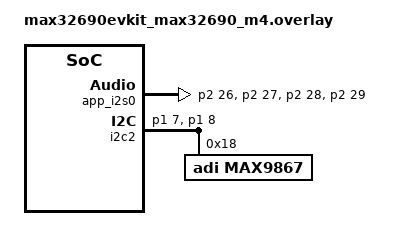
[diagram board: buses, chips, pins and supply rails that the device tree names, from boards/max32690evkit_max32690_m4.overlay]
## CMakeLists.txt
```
# SPDX-License-Identifier: Apache-2.0

cmake_minimum_required(VERSION 3.20.0)
find_package(Zephyr REQUIRED HINTS $ENV{ZEPHYR_BASE})
project(max32690_i2s_loopback)

target_sources(app PRIVATE src/main.c src/max9867.c src/audio_display.c)
```

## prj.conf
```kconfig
CONFIG_I2C=y
CONFIG_I2S=y
CONFIG_PRINTK=y
CONFIG_DISPLAY=y
CONFIG_DISPLAY_LOG_LEVEL_ERR=y

CONFIG_FPU=y
CONFIG_CMSIS_DSP=y
CONFIG_CMSIS_DSP_TRANSFORM=y
CONFIG_CMSIS_DSP_COMPLEXMATH=y
CONFIG_CMSIS_DSP_STATISTICS=y
CONFIG_CMSIS_DSP_WINDOW=y
CONFIG_REQUIRES_FULL_LIBC=y
```

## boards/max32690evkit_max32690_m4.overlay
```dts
/*
 * SPDX-License-Identifier: Apache-2.0
 */

#include <zephyr/dt-bindings/dma/max32690_dma.h>

/ {
	aliases {
		audio-i2s = &app_i2s0;
	};

	soc {
		app_i2s0: i2s@40060000 {
			compatible = "adi,max32-i2s";
			reg = <0x40060000 0x1000>;
			#address-cells = <1>;
			#size-cells = <0>;
			dmas = <&dma0 0 MAX32_DMA_SLOT_I2S_TX>,
			       <&dma0 1 MAX32_DMA_SLOT_I2S_RX>;
			dma-names = "tx", "rx";
			pinctrl-0 = <&i2s0c_ws_p2_26 &i2s0c_sdi_p2_27
				     &i2s0c_sdo_p2_28 &i2s0c_sck_p2_29>;
			pinctrl-names = "default";
			status = "okay";
		};
	};
};

/* SPI0 uses the same P2.26 through P2.29 pins as I2S0. */
&spi0 {
	status = "disabled";
};

&i2c2 {
	status = "okay";
	pinctrl-0 = <&i2c2c_sda_p1_7 &i2c2c_scl_p1_8>;
	pinctrl-names = "default";

	max9867: max9867@18 {
		compatible = "adi,max9867";
		reg = <0x18>;
		status = "okay";
	};
};
```

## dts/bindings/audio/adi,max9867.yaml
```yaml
# SPDX-License-Identifier: Apache-2.0

description: MAX9867 audio codec controlled through I2C

compatible: "adi,max9867"

include: i2c-device.yaml
```

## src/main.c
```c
/*
 * SPDX-License-Identifier: Apache-2.0
 */

#include "max9867.h"
#include "audio_display.h"

#include <errno.h>
#include <math.h>
#include <stdint.h>
#include <string.h>

#include <arm_math.h>
#include <zephyr/device.h>
#include <zephyr/drivers/i2s.h>
#include <zephyr/kernel.h>
#include <zephyr/sys/atomic.h>
#include <zephyr/sys/printk.h>
#include <zephyr/sys/util.h>

#define AUDIO_I2S_NODE DT_ALIAS(audio_i2s)

#define SAMPLE_RATE_HZ    44100U
#define SAMPLE_BIT_WIDTH  16U
#define CHANNEL_COUNT     2U
#define ANALYSIS_CHANNEL  0U
#define FRAMES_PER_BLOCK  1024U
#define SAMPLES_PER_BLOCK (FRAMES_PER_BLOCK * CHANNEL_COUNT)
#define BLOCK_SIZE        (SAMPLES_PER_BLOCK * sizeof(int16_t))
#define BLOCK_COUNT       8U
#define INITIAL_TX_BLOCKS 2U
#define I2S_TIMEOUT_MS    1000

#define FFT_SIZE               1024U
#define FFT_BIN_COUNT          (FFT_SIZE / 2U)
#define ANALYSIS_BUFFER_COUNT  2U
#define INVALID_BUFFER_INDEX   UINT8_MAX
#define PCM_FULL_SCALE         32768.0f
#define MIN_POWER_DBFS         (-120.0f)
#define MIN_NORMALIZED_POWER   1.0e-12f
#define SILENCE_LEVEL_DBFS     (-80.0f)
#define DSP_THREAD_STACK_SIZE  4096
#define DSP_THREAD_PRIORITY    5
#define SPECTRUM_LOG_PERIOD_MS 500U

BUILD_ASSERT(INITIAL_TX_BLOCKS < BLOCK_COUNT);

K_MEM_SLAB_DEFINE_STATIC(audio_slab, BLOCK_SIZE, BLOCK_COUNT, 4);
K_MSGQ_DEFINE(free_analysis_buffers, sizeof(uint8_t), ANALYSIS_BUFFER_COUNT, 1);
K_MSGQ_DEFINE(ready_analysis_buffers, sizeof(uint8_t), ANALYSIS_BUFFER_COUNT, 1);
K_SEM_DEFINE(dsp_start, 0, 1);

static int16_t analysis_buffers[ANALYSIS_BUFFER_COUNT][FFT_SIZE];
static float32_t fft_input[FFT_SIZE];
static float32_t fft_output[FFT_SIZE];
static float32_t power_spectrum[FFT_BIN_COUNT];
static float32_t hann_window[FFT_SIZE];
static arm_rfft_fast_instance_f32 fft;
static float32_t window_sum;
static atomic_t dropped_analysis_blocks;

static int init_dsp(void)
{
	arm_status status;

	status = arm_rfft_fast_init_1024_f32(&fft);
	if (status != ARM_MATH_SUCCESS) {
		printk("Failed to initialize 1024-point RFFT: %d\n", status);
		return -EINVAL;
	}

	arm_hanning_f32(hann_window, FFT_SIZE);
	for (size_t i = 0; i < FFT_SIZE; ++i) {
		window_sum += hann_window[i];
	}

	for (uint8_t i = 0; i < ANALYSIS_BUFFER_COUNT; ++i) {
		if (k_msgq_put(&free_analysis_buffers, &i, K_NO_WAIT) < 0) {
			printk("Failed to initialize analysis buffer queue\n");
			return -ENOMEM;
		}
	}

	k_sem_give(&dsp_start);
	return 0;
}

static void print_spectrum_result(float32_t frequency_hz, float32_t level_dbfs,
				  uint32_t processing_us)
{
	static uint32_t last_log_ms;
	uint32_t now_ms = k_uptime_get_32();
	uint32_t frequency_tenths = (uint32_t)(frequency_hz * 10.0f + 0.5f);
	int32_t level_tenths =
		(int32_t)(level_dbfs * 10.0f + ((level_dbfs >= 0.0f) ? 0.5f : -0.5f));
	uint32_t level_abs =
		(level_tenths < 0) ? (uint32_t)(-(int64_t)level_tenths) : (uint32_t)level_tenths;
	const char *level_sign = (level_tenths < 0) ? "-" : "";
	const char *state = (level_dbfs < SILENCE_LEVEL_DBFS) ? " (silence/noise)" : "";

	if ((uint32_t)(now_ms - last_log_ms) < SPECTRUM_LOG_PERIOD_MS) {
		return;
	}
	last_log_ms = now_ms;

	printk("Peak: %u.%u Hz, level: %s%u.%u dBFS%s, DSP: %u us, dropped blocks: %u\n",
	       frequency_tenths / 10U, frequency_tenths % 10U, level_sign, level_abs / 10U,
	       level_abs % 10U, state, processing_us,
	       (uint32_t)atomic_get(&dropped_analysis_blocks));
}

static void process_spectrum(const int16_t *samples)
{
	uint32_t start_cycles = k_cycle_get_32();
	float32_t mean = 0.0f;
	float32_t peak_power;
	float32_t peak_bin;
	float32_t normalized_power;
	float32_t level_dbfs;
	uint32_t peak_index;

	for (size_t i = 0; i < FFT_SIZE; ++i) {
		fft_input[i] = (float32_t)samples[i] / PCM_FULL_SCALE;
		mean += fft_input[i];
	}
	mean /= FFT_SIZE;

	for (size_t i = 0; i < FFT_SIZE; ++i) {
		fft_input[i] = (fft_input[i] - mean) * hann_window[i];
	}

	arm_rfft_fast_f32(&fft, fft_input, fft_output, 0);

	/*
	 * The fast RFFT packs DC and Nyquist into fft_output[0] and
	 * fft_output[1]. Compute bins 1 through N/2 - 1 as normal complex
	 * values; the Nyquist bin is not needed for the audio display.
	 */
	power_spectrum[0] = fft_output[0] * fft_output[0];
	arm_cmplx_mag_squared_f32(&fft_output[2], &power_spectrum[1], FFT_BIN_COUNT - 1U);

	arm_max_f32(&power_spectrum[1], FFT_BIN_COUNT - 1U, &peak_power, &peak_index);
	peak_index += 1U;
	peak_bin = (float32_t)peak_index;

	/* Refine the dominant frequency with three-point parabolic interpolation. */
	if ((peak_index > 1U) && (peak_index < (FFT_BIN_COUNT - 1U))) {
		float32_t left = power_spectrum[peak_index - 1U];
		float32_t center = power_spectrum[peak_index];
		float32_t right = power_spectrum[peak_index + 1U];
		float32_t denominator = left - (2.0f * center) + right;

		if (denominator != 0.0f) {
			float32_t offset = 0.5f * (left - right) / denominator;

			if ((offset >= -0.5f) && (offset <= 0.5f)) {
				float32_t interpolated_power =
					center - (0.25f * (left - right) * offset);

				peak_bin += offset;
				if (interpolated_power > peak_power) {
					peak_power = interpolated_power;
				}
			}
		}
	}

	/*
	 * A real sinusoid contributes N/2 times its peak amplitude to one
	 * positive-frequency bin. window_sum corrects the coherent gain of
	 * the Hann window, yielding a peak-amplitude value relative to full
	 * scale. Use power so only one logarithm is needed.
	 */
	normalized_power = (4.0f * peak_power) / (window_sum * window_sum);
	if (normalized_power < MIN_NORMALIZED_POWER) {
		level_dbfs = MIN_POWER_DBFS;
	} else {
		level_dbfs = 10.0f * log10f(normalized_power);
	}

	audio_display_update(samples, FFT_SIZE, power_spectrum, FFT_BIN_COUNT, window_sum);
	print_spectrum_result(peak_bin * (float32_t)SAMPLE_RATE_HZ / (float32_t)FFT_SIZE,
			      level_dbfs, k_cyc_to_us_floor32(k_cycle_get_32() - start_cycles));
}

static void dsp_thread(void *unused1, void *unused2, void *unused3)
{
	uint8_t buffer_index;

	ARG_UNUSED(unused1);
	ARG_UNUSED(unused2);
	ARG_UNUSED(unused3);

	k_sem_take(&dsp_start, K_FOREVER);

	for (;;) {
		k_msgq_get(&ready_analysis_buffers, &buffer_index, K_FOREVER);
		process_spectrum(analysis_buffers[buffer_index]);

		if (k_msgq_put(&free_analysis_buffers, &buffer_index, K_NO_WAIT) < 0) {
			printk("Failed to recycle analysis buffer %u\n", buffer_index);
		}
	}
}

K_THREAD_DEFINE(dsp_thread_id, DSP_THREAD_STACK_SIZE, dsp_thread, NULL, NULL, NULL,
		DSP_THREAD_PRIORITY, 0, 0);

static void collect_analysis_samples(const int16_t *samples, size_t frame_count)
{
	static uint8_t active_buffer = INVALID_BUFFER_INDEX;
	static size_t sample_count;
	size_t frame = 0;

	while (frame < frame_count) {
		size_t copy_count;

		if (active_buffer == INVALID_BUFFER_INDEX) {
			if (k_msgq_get(&free_analysis_buffers, &active_buffer, K_NO_WAIT) < 0) {
				atomic_inc(&dropped_analysis_blocks);
				return;
			}
			sample_count = 0;
		}

		copy_count = MIN(frame_count - frame, FFT_SIZE - sample_count);
		for (size_t i = 0; i < copy_count; ++i) {
			analysis_buffers[active_buffer][sample_count + i] =
				samples[(frame + i) * CHANNEL_COUNT + ANALYSIS_CHANNEL];
		}

		frame += copy_count;
		sample_count += copy_count;

		if (sample_count == FFT_SIZE) {
			if (k_msgq_put(&ready_analysis_buffers, &active_buffer, K_NO_WAIT) < 0) {
				(void)k_msgq_put(&free_analysis_buffers, &active_buffer, K_NO_WAIT);
				atomic_inc(&dropped_analysis_blocks);
			}
			active_buffer = INVALID_BUFFER_INDEX;
		}
	}
}

static int prepare_tx(const struct device *i2s)
{
	for (size_t i = 0U; i < INITIAL_TX_BLOCKS; ++i) {
		void *block;
		int ret;

		ret = k_mem_slab_alloc(&audio_slab, &block, K_NO_WAIT);
		if (ret < 0) {
			printk("Failed to allocate initial TX block %u: %d\n", (uint32_t)i, ret);
			return ret;
		}

		memset(block, 0, BLOCK_SIZE);
		ret = i2s_write(i2s, block, BLOCK_SIZE);
		if (ret < 0) {
			printk("Failed to queue initial TX block %u: %d\n", (uint32_t)i, ret);
			k_mem_slab_free(&audio_slab, block);
			return ret;
		}
	}

	return 0;
}

int main(void)
{
	const struct device *const i2s = DEVICE_DT_GET(AUDIO_I2S_NODE);
	const struct i2s_config config = {
		.word_size = SAMPLE_BIT_WIDTH,
		.channels = CHANNEL_COUNT,
		.format = I2S_FMT_DATA_FORMAT_I2S,
		.options = I2S_OPT_BIT_CLK_TARGET | I2S_OPT_FRAME_CLK_TARGET,
		.frame_clk_freq = SAMPLE_RATE_HZ,
		.mem_slab = &audio_slab,
		.block_size = BLOCK_SIZE,
		.timeout = I2S_TIMEOUT_MS,
	};
	int ret;

	printk("MAX32690EVKIT 44.1 kHz line-in spectrum analyzer with digital monitor\n");

	if (!device_is_ready(i2s)) {
		printk("%s is not ready\n", i2s->name);
		return 0;
	}

	ret = max9867_init_line_in_monitor(SAMPLE_RATE_HZ);
	if (ret < 0) {
		printk("MAX9867 initialization failed: %d\n", ret);
		return 0;
	}

	ret = init_dsp();
	if (ret < 0) {
		return 0;
	}

	ret = audio_display_init(SAMPLE_RATE_HZ, FFT_SIZE);
	if (ret < 0) {
		printk("Display initialization failed: %d\n", ret);
		return 0;
	}

	ret = i2s_configure(i2s, I2S_DIR_BOTH, &config);
	if (ret < 0) {
		printk("Failed to configure I2S RX/TX: %d\n", ret);
		return 0;
	}

	ret = prepare_tx(i2s);
	if (ret < 0) {
		return 0;
	}

	ret = i2s_trigger(i2s, I2S_DIR_BOTH, I2S_TRIGGER_START);
	if (ret < 0) {
		printk("Failed to start I2S RX/TX: %d\n", ret);
		return 0;
	}

	printk("Capturing 44.1 kHz stereo LINE_IN; analyzing left channel, 1024-point FFT\n");
	printk("Digital monitor: J5 LINE_IN -> MAX9867 ADC -> I2S RX/TX -> "
	       "MAX9867 DAC -> J6 HD_PHONE\n");

	for (;;) {
		void *block;
		size_t block_size;
		size_t frame_count;

		ret = i2s_read(i2s, &block, &block_size);
		if (ret < 0) {
			printk("I2S read failed: %d\n", ret);
			break;
		}

		if ((block_size % (CHANNEL_COUNT * sizeof(int16_t))) != 0U) {
			printk("Unexpected I2S block size: %u\n", (uint32_t)block_size);
			k_mem_slab_free(&audio_slab, block);
			break;
		}

		frame_count = block_size / (CHANNEL_COUNT * sizeof(int16_t));
		collect_analysis_samples(block, frame_count);

		/* i2s_write() takes ownership and releases the block after transmission. */
		ret = i2s_write(i2s, block, block_size);
		if (ret < 0) {
			printk("I2S write failed: %d\n", ret);
			k_mem_slab_free(&audio_slab, block);
			break;
		}
	}

	(void)i2s_trigger(i2s, I2S_DIR_BOTH, I2S_TRIGGER_DROP);
	return 0;
}
```

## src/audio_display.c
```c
/*
 * SPDX-License-Identifier: Apache-2.0
 */

#include "audio_display.h"

#include <errno.h>
#include <math.h>
#include <stdbool.h>
#include <stdint.h>
#include <string.h>

#include <mxc_device.h>
#include <zephyr/arch/cpu.h>
#include <zephyr/device.h>
#include <zephyr/drivers/display.h>
#include <zephyr/drivers/gpio.h>
#include <zephyr/drivers/mipi_dbi.h>
#include <zephyr/kernel.h>
#include <zephyr/sys/atomic.h>
#include <zephyr/sys/byteorder.h>
#include <zephyr/sys/printk.h>
#include <zephyr/sys/util.h>

#define DISPLAY_NODE     DT_CHOSEN(zephyr_display)
#define DISPLAY_SPI_NODE DT_PHANDLE(DT_PARENT(DISPLAY_NODE), spi_dev)
#define DISPLAY_CS_INDEX DT_REG_ADDR_RAW(DISPLAY_NODE)

#define DISPLAY_CLK_PIN  DT_GPIO_PIN(DISPLAY_SPI_NODE, clk_gpios)
#define DISPLAY_MOSI_PIN DT_GPIO_PIN(DISPLAY_SPI_NODE, mosi_gpios)
#define DISPLAY_CS_PIN   DT_GPIO_PIN_BY_IDX(DISPLAY_SPI_NODE, cs_gpios, DISPLAY_CS_INDEX)

#define DISPLAY_CLK_CTLR  DT_GPIO_CTLR(DISPLAY_SPI_NODE, clk_gpios)
#define DISPLAY_MOSI_CTLR DT_GPIO_CTLR(DISPLAY_SPI_NODE, mosi_gpios)
#define DISPLAY_CS_CTLR   DT_GPIO_CTLR_BY_IDX(DISPLAY_SPI_NODE, cs_gpios, DISPLAY_CS_INDEX)

#if !DT_NODE_HAS_STATUS(DISPLAY_NODE, okay)
#error "A ready zephyr,display devicetree node is required"
#endif

#define DISPLAY_WIDTH    DT_PROP(DISPLAY_NODE, width)
#define DISPLAY_HEIGHT   DT_PROP(DISPLAY_NODE, height)
#define DISPLAY_X_OFFSET DT_PROP(DISPLAY_NODE, x_offset)
#define DISPLAY_Y_OFFSET DT_PROP(DISPLAY_NODE, y_offset)

#define WAVEFORM_TOP            1U
#define WAVEFORM_BOTTOM         ((DISPLAY_HEIGHT / 2U) - 2U)
#define WAVEFORM_CENTER         ((WAVEFORM_TOP + WAVEFORM_BOTTOM) / 2U)
#define WAVEFORM_HEIGHT         (WAVEFORM_BOTTOM - WAVEFORM_TOP + 1U)
#define WAVEFORM_PCM_FULL_SCALE ((int32_t)INT16_MAX + 1)

#define DISPLAY_DIVIDER_Y         (DISPLAY_HEIGHT / 2U)
#define SPECTRUM_TOP              (DISPLAY_DIVIDER_Y + 2U)
#define SPECTRUM_BOTTOM           (DISPLAY_HEIGHT - 2U)
#define SPECTRUM_HEIGHT           (SPECTRUM_BOTTOM - SPECTRUM_TOP + 1U)
#define SPECTRUM_BAR_COUNT        32U
#define SPECTRUM_FLOOR_DBFS       (-80.0f)
#define SPECTRUM_CEILING_DBFS     0.0f
#define SPECTRUM_MAX_FREQUENCY_HZ 20000.0f

#define SNAPSHOT_MIN_INTERVAL_MS  40U
#define DISPLAY_REFRESH_PERIOD_MS 80U
#define DISPLAY_STATS_PERIOD_MS   2000U
#define DISPLAY_THREAD_STACK_SIZE 2048
#define DISPLAY_THREAD_PRIORITY   7

#define SPECTRUM_RISE_STEP            8U
#define SPECTRUM_FALL_STEP            4U
#define FAST_TX_WORD_CAPACITY         17600U
#define FAST_FRAME_SETUP_WORDS        2U
#define FAST_RECTANGLE_OVERHEAD_WORDS 11U
#define FAST_PIXEL_WORDS              2U
#define MIPI_DBI_DATA_FLAG            BIT(8)

#define ST7735_CMD_COLMOD 0x3aU
#define ST7735_CMD_CASET  0x2aU
#define ST7735_CMD_RASET  0x2bU
#define ST7735_CMD_RAMWR  0x2cU
#define ST7735_COLMOD     DT_PROP(DISPLAY_NODE, colmod)

#define RGB565_GRID    0x18e3U
#define RGB565_DIVIDER 0x4208U
#define RGB565_CYAN    0x07ffU
#define RGB565_GREEN   0x07e0U
#define RGB565_YELLOW  0xffe0U
#define RGB565_RED     0xf800U

BUILD_ASSERT(DISPLAY_WIDTH > SPECTRUM_BAR_COUNT);
BUILD_ASSERT(DISPLAY_HEIGHT >= 64U);
BUILD_ASSERT(DISPLAY_HEIGHT <= UINT8_MAX);
BUILD_ASSERT(DT_NODE_HAS_COMPAT(DISPLAY_NODE, sitronix_st7735r));
BUILD_ASSERT(DT_STRING_UPPER_TOKEN(DISPLAY_NODE, mipi_mode) == MIPI_DBI_MODE_SPI_3WIRE);
BUILD_ASSERT(DT_PROP(DISPLAY_NODE, mipi_cpol) == 0);
BUILD_ASSERT(DT_PROP(DISPLAY_NODE, mipi_cpha) == 0);
BUILD_ASSERT(ST7735_COLMOD == 0x05U);
BUILD_ASSERT(IS_ENABLED(CONFIG_SOC_MAX32690_M4));
BUILD_ASSERT(CONFIG_SYS_CLOCK_HW_CYCLES_PER_SEC == MHZ(120));
BUILD_ASSERT(DT_PROP(DISPLAY_NODE, mipi_max_frequency) == MHZ(6));
BUILD_ASSERT(DISPLAY_CLK_PIN < 32U);
BUILD_ASSERT(DISPLAY_MOSI_PIN < 32U);
BUILD_ASSERT(DISPLAY_CS_PIN < 32U);
BUILD_ASSERT(DT_REG_ADDR(DT_NODELABEL(gpio2)) == MXC_BASE_GPIO2);
BUILD_ASSERT(DT_SAME_NODE(DISPLAY_CLK_CTLR, DT_NODELABEL(gpio2)));
BUILD_ASSERT(DT_SAME_NODE(DISPLAY_MOSI_CTLR, DT_NODELABEL(gpio2)));
BUILD_ASSERT(DT_SAME_NODE(DISPLAY_CS_CTLR, DT_NODELABEL(gpio2)));
BUILD_ASSERT((DT_GPIO_FLAGS(DISPLAY_SPI_NODE, clk_gpios) & GPIO_ACTIVE_LOW) == 0U);
BUILD_ASSERT((DT_GPIO_FLAGS(DISPLAY_SPI_NODE, mosi_gpios) & GPIO_ACTIVE_LOW) == 0U);
BUILD_ASSERT((DT_GPIO_FLAGS_BY_IDX(DISPLAY_SPI_NODE, cs_gpios, DISPLAY_CS_INDEX) &
	      GPIO_ACTIVE_LOW) != 0U);
BUILD_ASSERT(
	FAST_TX_WORD_CAPACITY >=
	(FAST_FRAME_SETUP_WORDS +
	 (SPECTRUM_BAR_COUNT * (FAST_RECTANGLE_OVERHEAD_WORDS +
				(MAX(SPECTRUM_RISE_STEP, SPECTRUM_FALL_STEP) * FAST_PIXEL_WORDS))) +
	 FAST_RECTANGLE_OVERHEAD_WORDS + (DISPLAY_WIDTH * WAVEFORM_HEIGHT * FAST_PIXEL_WORDS)));

struct display_snapshot {
	uint8_t waveform_top[DISPLAY_WIDTH];
	uint8_t waveform_bottom[DISPLAY_WIDTH];
	uint8_t spectrum_height[SPECTRUM_BAR_COUNT];
	uint32_t sequence;
};

struct display_render_state {
	uint8_t spectrum_height[SPECTRUM_BAR_COUNT];
};

static const struct device *const display = DEVICE_DT_GET(DISPLAY_NODE);
static const struct device *const display_spi = DEVICE_DT_GET(DISPLAY_SPI_NODE);
static uint16_t framebuffer[DISPLAY_HEIGHT][DISPLAY_WIDTH];
static uint16_t fast_tx_words[FAST_TX_WORD_CAPACITY];
static uint16_t spectrum_bin_edges[SPECTRUM_BAR_COUNT + 1U];
static struct display_snapshot latest_snapshot;
static struct display_render_state displayed_state;
static struct display_render_state prepared_state;
static struct k_spinlock snapshot_lock;
static enum display_pixel_format pixel_format;
static size_t fast_tx_word_count;
static uint32_t last_snapshot_ms;
static atomic_t display_initialized;

K_SEM_DEFINE(display_start, 0, 1);

static uint16_t encode_color(uint16_t rgb565)
{
	if (pixel_format == PIXEL_FORMAT_RGB_565X) {
		return sys_cpu_to_be16(rgb565);
	}

	return rgb565;
}

static void put_pixel(uint16_t x, uint16_t y, uint16_t color)
{
	if ((x < DISPLAY_WIDTH) && (y < DISPLAY_HEIGHT)) {
		framebuffer[y][x] = encode_color(color);
	}
}

static void draw_vertical_line(uint16_t x, uint16_t y_start, uint16_t y_end, uint16_t color)
{
	if (y_start > y_end) {
		uint16_t temporary = y_start;

		y_start = y_end;
		y_end = temporary;
	}

	for (uint16_t y = y_start; y <= y_end; ++y) {
		put_pixel(x, y, color);
	}
}

static void draw_line(uint16_t x0, uint16_t y0, uint16_t x1, uint16_t y1, uint16_t color)
{
	int32_t x = x0;
	int32_t y = y0;
	int32_t delta_x = (x1 >= x0) ? (int32_t)(x1 - x0) : (int32_t)(x0 - x1);
	int32_t delta_y = -((y1 >= y0) ? (int32_t)(y1 - y0) : (int32_t)(y0 - y1));
	int32_t step_x = (x0 < x1) ? 1 : -1;
	int32_t step_y = (y0 < y1) ? 1 : -1;
	int32_t error = delta_x + delta_y;

	for (;;) {
		put_pixel((uint16_t)x, (uint16_t)y, color);
		if ((x == x1) && (y == y1)) {
			break;
		}

		int32_t doubled_error = 2 * error;

		if (doubled_error >= delta_y) {
			error += delta_y;
			x += step_x;
		}
		if (doubled_error <= delta_x) {
			error += delta_x;
			y += step_y;
		}
	}
}

static uint8_t sample_to_y(int16_t sample)
{
	const int32_t half_height = (WAVEFORM_BOTTOM - WAVEFORM_TOP) / 2U;
	int32_t y = (int32_t)WAVEFORM_CENTER -
		    ((int32_t)sample * half_height) / WAVEFORM_PCM_FULL_SCALE;

	if (y < WAVEFORM_TOP) {
		y = WAVEFORM_TOP;
	} else if (y > WAVEFORM_BOTTOM) {
		y = WAVEFORM_BOTTOM;
	}

	return (uint8_t)y;
}

static void update_waveform(struct display_snapshot *snapshot, const int16_t *samples,
			    size_t sample_count)
{
	for (size_t x = 0U; x < DISPLAY_WIDTH; ++x) {
		size_t start = (x * sample_count) / DISPLAY_WIDTH;
		size_t end = ((x + 1U) * sample_count) / DISPLAY_WIDTH;
		int16_t minimum;
		int16_t maximum;

		if (end <= start) {
			end = start + 1U;
		}
		if (end > sample_count) {
			end = sample_count;
		}

		minimum = samples[start];
		maximum = samples[start];
		for (size_t i = start + 1U; i < end; ++i) {
			minimum = MIN(minimum, samples[i]);
			maximum = MAX(maximum, samples[i]);
		}

		snapshot->waveform_top[x] = sample_to_y(maximum);
		snapshot->waveform_bottom[x] = sample_to_y(minimum);
	}
}

static void update_spectrum(struct display_snapshot *snapshot, const float *power_spectrum,
			    size_t spectrum_bin_count, float window_sum)
{
	const float power_scale = 4.0f / (window_sum * window_sum);

	for (size_t bar = 0U; bar < SPECTRUM_BAR_COUNT; ++bar) {
		uint16_t start = spectrum_bin_edges[bar];
		uint16_t end = spectrum_bin_edges[bar + 1U];
		float peak_power = 0.0f;
		float level_dbfs;
		float normalized_height;
		uint32_t height;

		if ((start >= spectrum_bin_count) || (end > spectrum_bin_count)) {
			snapshot->spectrum_height[bar] = 0U;
			continue;
		}

		for (uint16_t bin = start; bin < end; ++bin) {
			peak_power = MAX(peak_power, power_spectrum[bin]);
		}

		peak_power *= power_scale;
		if (peak_power <= 1.0e-12f) {
			level_dbfs = SPECTRUM_FLOOR_DBFS;
		} else {
			level_dbfs = 10.0f * log10f(peak_power);
		}

		level_dbfs = CLAMP(level_dbfs, SPECTRUM_FLOOR_DBFS, SPECTRUM_CEILING_DBFS);
		normalized_height = (level_dbfs - SPECTRUM_FLOOR_DBFS) /
				    (SPECTRUM_CEILING_DBFS - SPECTRUM_FLOOR_DBFS);
		height = (uint32_t)(normalized_height * SPECTRUM_HEIGHT + 0.5f);
		snapshot->spectrum_height[bar] = (uint8_t)MIN(height, (uint32_t)SPECTRUM_HEIGHT);
	}
}

static uint16_t spectrum_color(uint16_t y)
{
	uint16_t height = SPECTRUM_BOTTOM - y + 1U;

	if (height > (SPECTRUM_HEIGHT * 3U) / 4U) {
		return RGB565_RED;
	}
	if (height > SPECTRUM_HEIGHT / 2U) {
		return RGB565_YELLOW;
	}

	return RGB565_GREEN;
}

static bool is_vertical_grid_line(uint16_t x)
{
	for (uint16_t division = 1U; division < 4U; ++division) {
		if (x == (division * DISPLAY_WIDTH) / 4U) {
			return true;
		}
	}

	return false;
}

static uint16_t background_color(uint16_t x, uint16_t y)
{
	if (y == DISPLAY_DIVIDER_Y) {
		return RGB565_DIVIDER;
	}

	if (y == WAVEFORM_CENTER) {
		return RGB565_GRID;
	}

	if (is_vertical_grid_line(x) && ((y & 1U) == 0U) &&
	    (((y >= WAVEFORM_TOP) && (y <= WAVEFORM_BOTTOM)) ||
	     ((y >= SPECTRUM_TOP) && (y <= SPECTRUM_BOTTOM)))) {
		return RGB565_GRID;
	}

	if ((y >= SPECTRUM_TOP) && (y <= SPECTRUM_BOTTOM) && ((x & 1U) == 0U)) {
		for (uint16_t division = 1U; division < 4U; ++division) {
			uint16_t grid_y = SPECTRUM_BOTTOM - (division * SPECTRUM_HEIGHT) / 4U;

			if (y == grid_y) {
				return RGB565_GRID;
			}
		}
	}

	return 0U;
}

static void restore_area(uint16_t x, uint16_t y, uint16_t width, uint16_t height)
{
	for (uint16_t row = y; row < (y + height); ++row) {
		for (uint16_t column = x; column < (x + width); ++column) {
			put_pixel(column, row, background_color(column, row));
		}
	}
}

static void render_grid(void)
{
	restore_area(0U, 0U, DISPLAY_WIDTH, DISPLAY_HEIGHT);
}

static void fast_append_command(uint8_t command)
{
	fast_tx_words[fast_tx_word_count++] = command;
}

static void fast_append_data(uint8_t data)
{
	fast_tx_words[fast_tx_word_count++] = MIPI_DBI_DATA_FLAG | data;
}

static int fast_append_rectangle(uint16_t x, uint16_t y, uint16_t width, uint16_t height)
{
	size_t required_words;
	uint16_t x_start;
	uint16_t x_end;
	uint16_t y_start;
	uint16_t y_end;

	if ((width == 0U) || (height == 0U) || ((x + width) > DISPLAY_WIDTH) ||
	    ((y + height) > DISPLAY_HEIGHT)) {
		return -EINVAL;
	}

	required_words =
		FAST_RECTANGLE_OVERHEAD_WORDS + ((size_t)width * height * FAST_PIXEL_WORDS);
	if ((fast_tx_word_count + required_words) > ARRAY_SIZE(fast_tx_words)) {
		return -ENOMEM;
	}

	x_start = x + DISPLAY_X_OFFSET;
	x_end = x_start + width - 1U;
	y_start = y + DISPLAY_Y_OFFSET;
	y_end = y_start + height - 1U;

	fast_append_command(ST7735_CMD_CASET);
	fast_append_data((uint8_t)(x_start >> 8));
	fast_append_data((uint8_t)x_start);
	fast_append_data((uint8_t)(x_end >> 8));
	fast_append_data((uint8_t)x_end);

	fast_append_command(ST7735_CMD_RASET);
	fast_append_data((uint8_t)(y_start >> 8));
	fast_append_data((uint8_t)y_start);
	fast_append_data((uint8_t)(y_end >> 8));
	fast_append_data((uint8_t)y_end);

	fast_append_command(ST7735_CMD_RAMWR);
	for (uint16_t row = y; row < (y + height); ++row) {
		for (uint16_t column = x; column < (x + width); ++column) {
			const uint8_t *pixel = (const uint8_t *)&framebuffer[row][column];

			fast_append_data(pixel[0]);
			fast_append_data(pixel[1]);
		}
	}

	return 0;
}

static ALWAYS_INLINE void fast_gpio_half_period(void)
{
	/*
	 * Ten cycles at 120 MHz are 83.3 ns. GPIO stores and loop overhead
	 * make the resulting clock no faster than the panel's 6 MHz limit.
	 */
	arch_nop();
	arch_nop();
	arch_nop();
	arch_nop();
	arch_nop();
	arch_nop();
	arch_nop();
	arch_nop();
	arch_nop();
	arch_nop();
}

static int fast_flush(void)
{
	/*
	 * After panel initialization, the display thread exclusively owns these
	 * pins. Bit-band writes update one GPIO2 output atomically, so the I2S pins
	 * on the same port are unaffected. Keep interrupts and preemption enabled:
	 * an interruption only stretches the display clock.
	 */
	volatile uint32_t *const clock =
		(volatile uint32_t *)BITBAND(&MXC_GPIO2->out, DISPLAY_CLK_PIN);
	volatile uint32_t *const mosi =
		(volatile uint32_t *)BITBAND(&MXC_GPIO2->out, DISPLAY_MOSI_PIN);
	volatile uint32_t *const chip_select =
		(volatile uint32_t *)BITBAND(&MXC_GPIO2->out, DISPLAY_CS_PIN);

	if (fast_tx_word_count == 0U) {
		return 0;
	}

	*clock = 0U;
	*chip_select = 0U;
	fast_gpio_half_period();

	for (size_t word = 0U; word < fast_tx_word_count; ++word) {
		for (uint16_t mask = MIPI_DBI_DATA_FLAG; mask != 0U; mask >>= 1U) {
			*mosi = (fast_tx_words[word] & mask) != 0U;
			fast_gpio_half_period();
			*clock = 1U;
			fast_gpio_half_period();
			*clock = 0U;
		}
	}

	fast_gpio_half_period();
	*chip_select = 1U;
	__DSB();

	return 0;
}

static int append_waveform_frame(const struct display_snapshot *snapshot)
{
	uint16_t previous_y = WAVEFORM_CENTER;

	restore_area(0U, WAVEFORM_TOP, DISPLAY_WIDTH, WAVEFORM_HEIGHT);
	for (uint16_t x = 0U; x < DISPLAY_WIDTH; ++x) {
		uint16_t top = snapshot->waveform_top[x];
		uint16_t bottom = snapshot->waveform_bottom[x];
		uint16_t middle = (top + bottom) / 2U;

		draw_vertical_line(x, top, bottom, RGB565_CYAN);
		if (x > 0U) {
			draw_line(x - 1U, previous_y, x, middle, RGB565_CYAN);
		}
		previous_y = middle;
	}

	return fast_append_rectangle(0U, WAVEFORM_TOP, DISPLAY_WIDTH, WAVEFORM_HEIGHT);
}

static int append_spectrum_changes(const struct display_snapshot *snapshot,
				   struct display_render_state *state)
{
	for (uint16_t bar = 0U; bar < SPECTRUM_BAR_COUNT; ++bar) {
		uint8_t old_height = state->spectrum_height[bar];
		uint8_t target_height = snapshot->spectrum_height[bar];
		uint8_t new_height;
		uint16_t x_start = (bar * DISPLAY_WIDTH) / SPECTRUM_BAR_COUNT;
		uint16_t x_end = ((bar + 1U) * DISPLAY_WIDTH) / SPECTRUM_BAR_COUNT;
		uint16_t x = (x_start + x_end) / 2U;
		uint16_t y_start;
		uint16_t y_end;
		int ret;

		if (target_height > old_height) {
			new_height = MIN(target_height, (uint8_t)(old_height + SPECTRUM_RISE_STEP));
		} else if ((old_height - target_height) > SPECTRUM_FALL_STEP) {
			new_height = old_height - SPECTRUM_FALL_STEP;
		} else {
			new_height = target_height;
		}

		if (new_height == old_height) {
			continue;
		}

		if (new_height > old_height) {
			y_start = SPECTRUM_BOTTOM - new_height + 1U;
			y_end = SPECTRUM_BOTTOM - old_height;
			for (uint16_t y = y_start; y <= y_end; ++y) {
				put_pixel(x, y, spectrum_color(y));
			}
		} else {
			y_start = SPECTRUM_BOTTOM - old_height + 1U;
			y_end = SPECTRUM_BOTTOM - new_height;
			for (uint16_t y = y_start; y <= y_end; ++y) {
				put_pixel(x, y, background_color(x, y));
			}
		}

		ret = fast_append_rectangle(x, y_start, 1U, y_end - y_start + 1U);
		if (ret < 0) {
			return ret;
		}
		state->spectrum_height[bar] = new_height;
	}

	return 0;
}

static int prepare_partial_frame(const struct display_snapshot *snapshot, size_t *word_count)
{
	int ret;

	fast_tx_word_count = 0U;
	prepared_state = displayed_state;
	fast_append_command(ST7735_CMD_COLMOD);
	fast_append_data(ST7735_COLMOD);

	ret = append_spectrum_changes(snapshot, &prepared_state);
	if (ret < 0) {
		return ret;
	}

	ret = append_waveform_frame(snapshot);
	if (ret < 0) {
		return ret;
	}

	*word_count = fast_tx_word_count;
	return 0;
}

static int write_initial_frame(void)
{
	const struct display_buffer_descriptor descriptor = {
		.buf_size = sizeof(framebuffer),
		.width = DISPLAY_WIDTH,
		.height = DISPLAY_HEIGHT,
		.pitch = DISPLAY_WIDTH,
		.frame_incomplete = false,
	};

	memset(framebuffer, 0, sizeof(framebuffer));
	render_grid();

	return display_write(display, 0U, 0U, &descriptor, framebuffer);
}

static void display_thread(void *unused1, void *unused2, void *unused3)
{
	struct display_snapshot snapshot;
	uint32_t displayed_sequence = 0U;
	uint32_t frame_count = 0U;
	uint32_t write_us_sum = 0U;
	uint32_t write_us_max = 0U;
	uint32_t word_count_sum = 0U;
	size_t word_count_max = 0U;
	uint32_t pending_sequence = 0U;
	size_t pending_word_count = 0U;
	bool frame_pending = false;
	int64_t stats_start_ms;
	int64_t next_refresh_ms;

	ARG_UNUSED(unused1);
	ARG_UNUSED(unused2);
	ARG_UNUSED(unused3);

	k_sem_take(&display_start, K_FOREVER);
	stats_start_ms = k_uptime_get();
	next_refresh_ms = stats_start_ms;

	for (;;) {
		int64_t now_ms;

		if (!frame_pending) {
			k_spinlock_key_t key;
			bool new_snapshot = false;

			key = k_spin_lock(&snapshot_lock);
			if (latest_snapshot.sequence != displayed_sequence) {
				snapshot = latest_snapshot;
				pending_sequence = latest_snapshot.sequence;
				new_snapshot = true;
			}
			k_spin_unlock(&snapshot_lock, key);

			if (new_snapshot) {
				int ret = prepare_partial_frame(&snapshot, &pending_word_count);

				if (ret < 0) {
					printk("Display update preparation failed: %d\n", ret);
				} else {
					frame_pending = true;
				}
			}
		}

		if (frame_pending) {
			uint32_t start_cycles = k_cycle_get_32();
			uint32_t write_us;
			int ret = fast_flush();

			write_us = k_cyc_to_us_floor32(k_cycle_get_32() - start_cycles);
			if (ret < 0) {
				printk("Display write failed, retrying frame: %d\n", ret);
			} else {
				displayed_state = prepared_state;
				displayed_sequence = pending_sequence;
				write_us_sum += write_us;
				write_us_max = MAX(write_us_max, write_us);
				word_count_sum += (uint32_t)pending_word_count;
				word_count_max = MAX(word_count_max, pending_word_count);
				++frame_count;
				frame_pending = false;
			}
		}

		now_ms = k_uptime_get();
		if ((now_ms - stats_start_ms) >= DISPLAY_STATS_PERIOD_MS) {
			uint32_t elapsed_ms = (uint32_t)(now_ms - stats_start_ms);
			uint32_t fps_tenths = (frame_count * 10000U) / elapsed_ms;
			uint32_t write_us_average = frame_count ? (write_us_sum / frame_count) : 0U;
			uint32_t word_count_average =
				frame_count ? (word_count_sum / frame_count) : 0U;
			uint32_t effective_wire_kbps =
				write_us_average
					? (word_count_average * 9U * 1000U) / write_us_average
					: 0U;

			printk("Display: %u.%u fps, write avg/max: %u/%u us, "
			       "tx avg/max: %u/%u words, wire: %u kbps\n",
			       fps_tenths / 10U, fps_tenths % 10U, write_us_average, write_us_max,
			       word_count_average, (uint32_t)word_count_max, effective_wire_kbps);
			stats_start_ms = now_ms;
			frame_count = 0U;
			write_us_sum = 0U;
			write_us_max = 0U;
			word_count_sum = 0U;
			word_count_max = 0U;
		}

		next_refresh_ms += DISPLAY_REFRESH_PERIOD_MS;
		now_ms = k_uptime_get();
		if (next_refresh_ms > now_ms) {
			k_sleep(K_TIMEOUT_ABS_MS(next_refresh_ms));
		} else {
			next_refresh_ms = now_ms;
		}
	}
}

K_THREAD_DEFINE(display_thread_id, DISPLAY_THREAD_STACK_SIZE, display_thread, NULL, NULL, NULL,
		DISPLAY_THREAD_PRIORITY, 0, 0);

static int init_spectrum_bins(uint32_t sample_rate_hz, size_t fft_size)
{
	size_t bin_count;
	float nyquist_hz;
	float maximum_hz;
	uint16_t maximum_edge;

	if ((sample_rate_hz == 0U) || (fft_size < 2U) || ((fft_size / 2U) > UINT16_MAX)) {
		return -EINVAL;
	}

	bin_count = fft_size / 2U;
	nyquist_hz = (float)sample_rate_hz / 2.0f;
	maximum_hz = MIN(nyquist_hz, SPECTRUM_MAX_FREQUENCY_HZ);
	maximum_edge = (uint16_t)MIN(
		(size_t)(maximum_hz * (float)fft_size / (float)sample_rate_hz) + 1U, bin_count);

	if (maximum_edge <= SPECTRUM_BAR_COUNT) {
		return -EINVAL;
	}

	spectrum_bin_edges[0] = 1U;
	for (size_t edge = 1U; edge < SPECTRUM_BAR_COUNT; ++edge) {
		float fraction = (float)edge / (float)SPECTRUM_BAR_COUNT;
		uint16_t bin = (uint16_t)(powf((float)maximum_edge, fraction) + 0.5f);
		uint16_t largest_allowed = maximum_edge - (SPECTRUM_BAR_COUNT - edge);

		bin = MAX(bin, (uint16_t)(spectrum_bin_edges[edge - 1U] + 1U));
		spectrum_bin_edges[edge] = MIN(bin, largest_allowed);
	}
	spectrum_bin_edges[SPECTRUM_BAR_COUNT] = maximum_edge;

	return 0;
}

int audio_display_init(uint32_t sample_rate_hz, size_t fft_size)
{
	struct display_capabilities capabilities;
	uint32_t start_cycles;
	uint32_t initial_write_us;
	int ret;

	if (!device_is_ready(display)) {
		printk("%s is not ready\n", display->name);
		return -ENODEV;
	}
	if (!device_is_ready(display_spi)) {
		printk("%s is not ready\n", display_spi->name);
		return -ENODEV;
	}

	display_get_capabilities(display, &capabilities);
	if ((capabilities.x_resolution != DISPLAY_WIDTH) ||
	    (capabilities.y_resolution != DISPLAY_HEIGHT)) {
		printk("Unexpected display resolution: %ux%u\n",
		       (uint32_t)capabilities.x_resolution, (uint32_t)capabilities.y_resolution);
		return -EINVAL;
	}

	if ((capabilities.current_pixel_format != PIXEL_FORMAT_RGB_565) &&
	    (capabilities.current_pixel_format != PIXEL_FORMAT_RGB_565X)) {
		printk("Unsupported display pixel format: %u\n",
		       (uint32_t)capabilities.current_pixel_format);
		return -ENOTSUP;
	}
	pixel_format = capabilities.current_pixel_format;

	ret = init_spectrum_bins(sample_rate_hz, fft_size);
	if (ret < 0) {
		printk("Failed to configure spectrum display bins: %d\n", ret);
		return ret;
	}

	for (size_t point = 0U; point < DISPLAY_WIDTH; ++point) {
		latest_snapshot.waveform_top[point] = WAVEFORM_CENTER;
		latest_snapshot.waveform_bottom[point] = WAVEFORM_CENTER;
	}

	ret = display_blanking_off(display);
	if (ret < 0) {
		printk("Failed to enable display: %d\n", ret);
		return ret;
	}

	start_cycles = k_cycle_get_32();
	ret = write_initial_frame();
	initial_write_us = k_cyc_to_us_floor32(k_cycle_get_32() - start_cycles);
	if (ret < 0) {
		printk("Failed to draw initial display frame: %d\n", ret);
		return ret;
	}

	atomic_set(&display_initialized, 1);
	k_sem_give(&display_start);
	printk("Display: %ux%u, full %u-column waveform envelope + "
	       "%u logarithmic spectrum bars, "
	       "initial write: %u us\n",
	       (uint32_t)capabilities.x_resolution, (uint32_t)capabilities.y_resolution,
	       DISPLAY_WIDTH, SPECTRUM_BAR_COUNT, initial_write_us);

	return 0;
}

void audio_display_update(const int16_t *samples, size_t sample_count, const float *power_spectrum,
			  size_t spectrum_bin_count, float window_sum)
{
	struct display_snapshot snapshot;
	k_spinlock_key_t key;
	uint32_t now_ms;

	if (!atomic_get(&display_initialized) || (samples == NULL) ||
	    (sample_count < DISPLAY_WIDTH) || (power_spectrum == NULL) || (window_sum <= 0.0f)) {
		return;
	}

	now_ms = k_uptime_get_32();
	if ((uint32_t)(now_ms - last_snapshot_ms) < SNAPSHOT_MIN_INTERVAL_MS) {
		return;
	}
	last_snapshot_ms = now_ms;

	update_waveform(&snapshot, samples, sample_count);
	update_spectrum(&snapshot, power_spectrum, spectrum_bin_count, window_sum);

	key = k_spin_lock(&snapshot_lock);
	snapshot.sequence = latest_snapshot.sequence + 1U;
	latest_snapshot = snapshot;
	k_spin_unlock(&snapshot_lock, key);
}
```

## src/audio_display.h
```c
/*
 * SPDX-License-Identifier: Apache-2.0
 */

#ifndef AUDIO_DISPLAY_H_
#define AUDIO_DISPLAY_H_

#include <stddef.h>
#include <stdint.h>

int audio_display_init(uint32_t sample_rate_hz, size_t fft_size);

void audio_display_update(const int16_t *samples, size_t sample_count, const float *power_spectrum,
			  size_t spectrum_bin_count, float window_sum);

#endif /* AUDIO_DISPLAY_H_ */
```

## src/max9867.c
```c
/*
 * SPDX-License-Identifier: Apache-2.0
 */

#include <errno.h>

#include <zephyr/device.h>
#include <zephyr/drivers/i2c.h>
#include <zephyr/sys/printk.h>
#include <zephyr/sys/util.h>

#include "max9867.h"

#define MAX9867_NODE DT_NODELABEL(max9867)

#define MAX9867_REG_INTERRUPT_ENABLE 0x04
#define MAX9867_REG_SYSTEM_CLOCK     0x05
#define MAX9867_REG_AUDIO_CLOCK_HIGH 0x06
#define MAX9867_REG_AUDIO_CLOCK_LOW  0x07
#define MAX9867_REG_DAI_FORMAT       0x08
#define MAX9867_REG_DAI_CLOCK        0x09
#define MAX9867_REG_FILTERS          0x0a
#define MAX9867_REG_ADC_LEVEL        0x0d
#define MAX9867_REG_LINE_LEFT        0x0e
#define MAX9867_REG_LINE_RIGHT       0x0f
#define MAX9867_REG_VOLUME_LEFT      0x10
#define MAX9867_REG_VOLUME_RIGHT     0x11
#define MAX9867_REG_ADC_INPUT        0x14
#define MAX9867_REG_MICROPHONE       0x15
#define MAX9867_REG_MODE             0x16
#define MAX9867_REG_POWER            0x17
#define MAX9867_REG_REVISION         0xff

#define MAX9867_DAI_MASTER     BIT(7)
#define MAX9867_DAI_I2S_DELAY  BIT(4)
#define MAX9867_DAI_HIZ_OFF    BIT(3)
#define MAX9867_BCLK_PCLK_DIV8 0x06

#define MAX9867_LINE_PLAYBACK_MUTE BIT(6)
#define MAX9867_LINE_GAIN_0_DB     0x0c

#define MAX9867_ADC_LEFT_LINE  (0x2 << 6)
#define MAX9867_ADC_RIGHT_LINE (0x2 << 4)
#define MAX9867_ADC_GAIN_0_DB  0x3

#define MAX9867_HEADPHONE_VOLUME_0_DB 0x09
#define MAX9867_HEADPHONE_STEREO_MODE 0x02

#define MAX9867_POWER_NORMAL     BIT(7)
#define MAX9867_POWER_LINE_LEFT  BIT(6)
#define MAX9867_POWER_LINE_RIGHT BIT(5)
#define MAX9867_POWER_DAC_LEFT   BIT(3)
#define MAX9867_POWER_DAC_RIGHT  BIT(2)
#define MAX9867_POWER_ADC_LEFT   BIT(1)
#define MAX9867_POWER_ADC_RIGHT  BIT(0)

#define MAX9867_SAMPLE_RATE_HZ 44100U

struct max9867_reg_value {
	uint8_t reg;
	uint8_t value;
};

static const struct i2c_dt_spec codec = I2C_DT_SPEC_GET(MAX9867_NODE);

static int max9867_write(uint8_t reg, uint8_t value)
{
	int ret;

	ret = i2c_reg_write_byte_dt(&codec, reg, value);
	if (ret < 0) {
		printk("MAX9867 write reg 0x%02x failed: %d\n", reg, ret);
	}

	return ret;
}

int max9867_init_line_in_monitor(uint32_t sample_rate_hz)
{
	static const struct max9867_reg_value init[] = {
		/* 12.288 MHz MCLK, 44.1 kHz LRCLK: NI = 0x5833. */
		{MAX9867_REG_SYSTEM_CLOCK, 0x10},
		{MAX9867_REG_AUDIO_CLOCK_HIGH, 0x58},
		{MAX9867_REG_AUDIO_CLOCK_LOW, 0x33},
		/* MAX9867 supplies BCLK and LRCLK; use the I2S data format. */
		{MAX9867_REG_DAI_CLOCK, MAX9867_BCLK_PCLK_DIV8},
		{MAX9867_REG_DAI_FORMAT,
		 MAX9867_DAI_MASTER | MAX9867_DAI_I2S_DELAY | MAX9867_DAI_HIZ_OFF},
		{MAX9867_REG_FILTERS, 0xa2},
		/* Select both analog line inputs for the two ADCs. */
		{MAX9867_REG_MICROPHONE, 0x00},
		{MAX9867_REG_ADC_INPUT, MAX9867_ADC_LEFT_LINE | MAX9867_ADC_RIGHT_LINE},
		{MAX9867_REG_ADC_LEVEL, (MAX9867_ADC_GAIN_0_DB << 4) | MAX9867_ADC_GAIN_0_DB},
		/*
		 * Set line gain to 0 dB and mute the direct analog path. Audio
		 * is available only through the ADC and I2S capture path.
		 */
		{MAX9867_REG_LINE_LEFT, MAX9867_LINE_PLAYBACK_MUTE | MAX9867_LINE_GAIN_0_DB},
		{MAX9867_REG_LINE_RIGHT, MAX9867_LINE_PLAYBACK_MUTE | MAX9867_LINE_GAIN_0_DB},
		/* Match the board's stereo capacitorless headphone connection. */
		{MAX9867_REG_MODE, MAX9867_HEADPHONE_STEREO_MODE},
		{MAX9867_REG_VOLUME_LEFT, MAX9867_HEADPHONE_VOLUME_0_DB},
		{MAX9867_REG_VOLUME_RIGHT, MAX9867_HEADPHONE_VOLUME_0_DB},
		/* Enable the ADC-to-I2S and I2S-to-DAC paths for digital monitoring. */
		{MAX9867_REG_POWER, MAX9867_POWER_NORMAL | MAX9867_POWER_LINE_LEFT |
					    MAX9867_POWER_LINE_RIGHT | MAX9867_POWER_DAC_LEFT |
					    MAX9867_POWER_DAC_RIGHT | MAX9867_POWER_ADC_LEFT |
					    MAX9867_POWER_ADC_RIGHT},
	};
	uint8_t revision;
	int ret;

	if (sample_rate_hz != MAX9867_SAMPLE_RATE_HZ) {
		printk("MAX9867 unsupported sample rate: %u Hz\n", sample_rate_hz);
		return -EINVAL;
	}

	if (!i2c_is_ready_dt(&codec)) {
		printk("MAX9867 I2C controller is not ready\n");
		return -ENODEV;
	}

	ret = i2c_reg_read_byte_dt(&codec, MAX9867_REG_REVISION, &revision);
	if (ret < 0) {
		printk("MAX9867 revision read failed: %d\n", ret);
		return ret;
	}

	printk("MAX9867 revision: 0x%02x\n", revision);

	/* The codec has no external reset input. Configure it while shut down. */
	ret = max9867_write(MAX9867_REG_POWER, 0x00);
	if (ret < 0) {
		return ret;
	}

	for (uint8_t reg = MAX9867_REG_INTERRUPT_ENABLE; reg <= MAX9867_REG_POWER; ++reg) {
		ret = max9867_write(reg, 0x00);
		if (ret < 0) {
			return ret;
		}
	}

	for (size_t i = 0; i < ARRAY_SIZE(init); ++i) {
		ret = max9867_write(init[i].reg, init[i].value);
		if (ret < 0) {
			return ret;
		}
	}

	return 0;
}
```

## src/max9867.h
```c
/*
 * SPDX-License-Identifier: Apache-2.0
 */

#ifndef MAX9867_H_
#define MAX9867_H_

#include <stdint.h>

int max9867_init_line_in_monitor(uint32_t sample_rate_hz);

#endif /* MAX9867_H_ */
```
